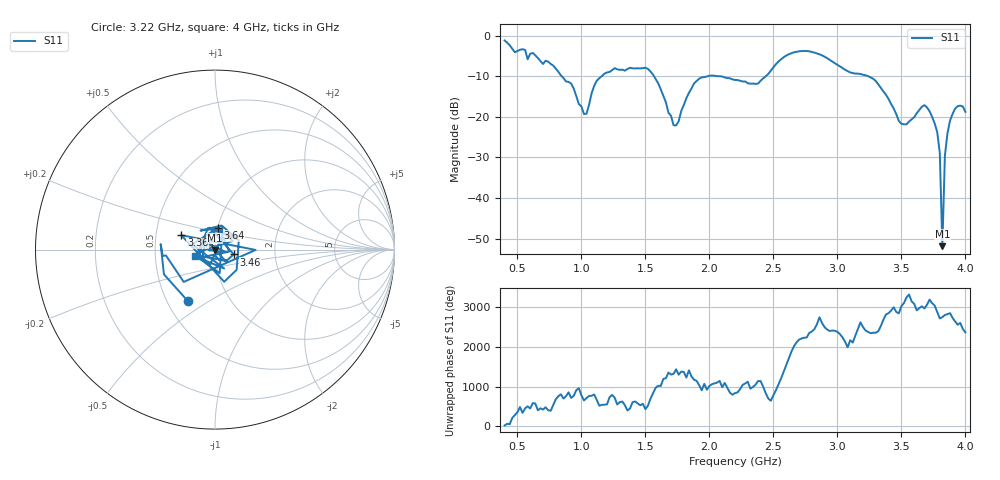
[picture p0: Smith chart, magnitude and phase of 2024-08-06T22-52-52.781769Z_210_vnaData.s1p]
!Created with skrf (http://scikit-rf.org).
# Hz S RI R 50.0
!freq ReS11 ImS11
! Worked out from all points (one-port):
!   181 points, 400 MHz to 4 GHz, reference 50 ohm
!   lowest |S11| = -51.9 dB at 3.82 GHz (marker M1), VSWR 1.01, Z = 49.8 - j0.149 ohm
!   |S11| at or under -10 dB: 1.567 GHz to 1.988 GHz (421.3 MHz wide, 23.7 % of centre); 2.059 GHz to 2.441 GHz (381.3 MHz wide, 16.9 % of centre); 3.24 GHz to end of sweep (the widest 3 of 4)
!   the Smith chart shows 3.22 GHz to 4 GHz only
!   S11 on the Smith chart (normalised r, x): 3.22 GHz: 0.64, -0.41; 3.36 GHz: 0.68, +0.11; 3.46 GHz: 1.23, -0.07; 3.64 GHz: 1.00, +0.24; 4 GHz: 0.80, -0.06
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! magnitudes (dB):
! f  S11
! 400 MHz  -1.2
! 860 MHz  -10.5
! 1.04 GHz  -19.2
! 1.12 GHz  -11.1
! 1.3 GHz  -8.4
! 1.52 GHz  -8.2
! 1.6 GHz  -11.8
! 1.72 GHz  -22.1
! 1.76 GHz  -21.1
! 1.92 GHz  -10.6
! 2.2 GHz  -10.9
! 2.38 GHz  -11.8
! 2.66 GHz  -4.1
! 2.86 GHz  -4.6
! 3.1 GHz  -9.1
! 3.22 GHz  -9.8
! 3.36 GHz  -13.8
! 3.46 GHz  -19.3
! 3.56 GHz  -21.2
! 3.64 GHz  -18.3
! 3.7 GHz  -17.7
! 3.78 GHz  -23.8
! 3.8 GHz  -28.9
! 3.82 GHz  -51.9
! 3.84 GHz  -29.5
! 3.86 GHz  -24.1
! 3.92 GHz  -18.0
! 4 GHz  -18.8
